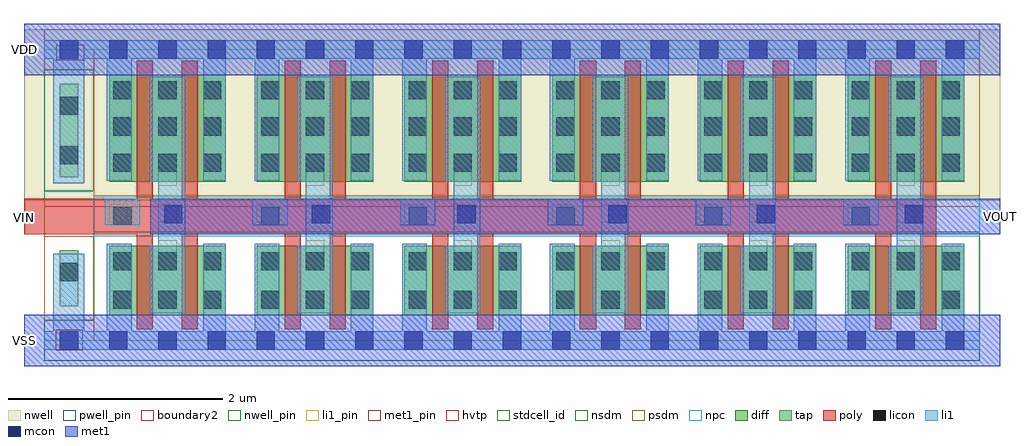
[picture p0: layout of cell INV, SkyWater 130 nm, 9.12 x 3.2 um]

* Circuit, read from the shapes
.subckt INV VDD VIN VOUT VSS
XM1 VOUT VIN VSS VSS sky130_fd_pr__nfet_01v8 w=0.65 l=0.15 m=12
XM2 VOUT VIN VDD VDD sky130_fd_pr__pfet_01v8_hvt w=1 l=0.15 m=12
.ends

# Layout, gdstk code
import gdstk
lib = gdstk.Library(unit=1e-6, precision=1e-09)
def R(c, l, rs):  # rectangles x0, y0, x1, y1
    for r in rs: c.add(gdstk.rectangle(r[:2], r[2:], *l))
def A(c, l, x, y, w, h, nx, ny, dx, dy):  # array of equal rectangles
    R(c, l, [(x+i*dx, y+j*dy, x+i*dx+w, y+j*dy+h) for i in range(nx) for j in range(ny)])
def P(c, l, *ps):  # polygons
    for p in ps: c.add(gdstk.Polygon(p, *l))
nwell_pin = (64, 16)
nwell = (64, 20)
diff = (65, 20)
tap = (65, 44)
poly = (66, 20)
licon = (66, 44)
li1_pin = (67, 16)
li1 = (67, 20)
mcon = (67, 44)
met1_pin = (68, 16)
met1 = (68, 20)
hvtp = (78, 44)
stdcell_id = (81, 4)
nsdm = (93, 44)
psdm = (94, 20)
npc = (95, 20)
pwell_pin = (122, 16)
boundary2 = (236, 0)

sky130_fd_sc_hd__tapvpwr = lib.new_cell('sky130_fd_sc_hd__tapvpwrvgnd_1')
R(sky130_fd_sc_hd__tapvpwr, nwell, [(-0.19,1.305,0.65,2.91)])
R(sky130_fd_sc_hd__tapvpwr, tap, [(0.145,0.32,0.315,0.845), (0.145,1.525,0.315,2.4)])
R(sky130_fd_sc_hd__tapvpwr, licon, [(0.145,0.555,0.315,0.725), (0.145,1.645,0.315,1.815), (0.145,2.11,0.315,2.28)])
R(sky130_fd_sc_hd__tapvpwr, li1, [(0,-0.085,0.46,0.085), (0.085,0,0.375,0.81), (0.085,1.47,0.375,2.72), (0,2.635,0.46,2.805)])
R(sky130_fd_sc_hd__tapvpwr, mcon, [(0.145,-0.085,0.315,0.085), (0.145,2.635,0.315,2.805)])
R(sky130_fd_sc_hd__tapvpwr, met1_pin, [(0.105,-0.09,0.36,0.1), (0.11,2.62,0.375,2.765)])
R(sky130_fd_sc_hd__tapvpwr, met1, [(0,-0.24,0.46,0.24), (0,2.48,0.46,2.96)])
R(sky130_fd_sc_hd__tapvpwr, hvtp, [(0,1.25,0.46,2.72)])
R(sky130_fd_sc_hd__tapvpwr, stdcell_id, [(0,0,0.46,2.72)])
R(sky130_fd_sc_hd__tapvpwr, nsdm, [(0,-0.19,0.46,0.19), (0,1.395,0.46,2.53)])
R(sky130_fd_sc_hd__tapvpwr, psdm, [(0,0.19,0.46,0.975), (0,2.53,0.46,2.91)])
sky130_fd_sc_hd__tapvpwr.add(gdstk.Label('VPWR', (0.23,2.72), layer=68, texttype=5))
sky130_fd_sc_hd__tapvpwr.add(gdstk.Label('VGND', (0.23,0), layer=68, texttype=5))
sky130_fd_sc_hd__tapvpwr.add(gdstk.Label('tapvpwrvgnd_1', (0,0), layer=83, texttype=44))

sky130_fd_sc_hd__inv_2 = lib.new_cell('sky130_fd_sc_hd__inv_2')
R(sky130_fd_sc_hd__inv_2, nwell_pin, [(0.145,2.635,0.315,2.805)])
R(sky130_fd_sc_hd__inv_2, nwell, [(-0.19,1.305,1.57,2.91)])
R(sky130_fd_sc_hd__inv_2, diff, [(0.145,0.235,1.235,0.885), (0.145,1.485,1.235,2.485)])
P(sky130_fd_sc_hd__inv_2, poly, [(0.975,2.615),(0.825,2.615),(0.825,1.325),(0.555,1.325),(0.555,2.615),(0.405,2.615),(0.405,1.325),(0.105,1.325),(0.105,0.995),(0.405,0.995),(0.405,0.105),(0.555,0.105),(0.555,0.995),(0.825,0.995),(0.825,0.105),(0.975,0.105)])
A(sky130_fd_sc_hd__inv_2, licon, 0.185, 0.295, 0.17, 0.17, 3, 2, 0.42, 0.36)
A(sky130_fd_sc_hd__inv_2, licon, 0.185, 1.575, 0.17, 0.17, 3, 3, 0.42, 0.34)
R(sky130_fd_sc_hd__inv_2, licon, [(0.185,1.075,0.355,1.245)])
A(sky130_fd_sc_hd__inv_2, li1_pin, 0.605, 0.765, 0.17, 0.17, 1, 3, 0, 0.34)
R(sky130_fd_sc_hd__inv_2, li1_pin, [(0.145,1.105,0.315,1.275)])
R(sky130_fd_sc_hd__inv_2, li1, [(0.105,1.075,0.435,1.325)])
P(sky130_fd_sc_hd__inv_2, li1, [(1.38,2.805),(0,2.805),(0,2.635),(0.125,2.635),(0.125,1.495),(0.355,1.495),(0.355,2.635),(1.025,2.635),(1.025,1.495),(1.235,1.495),(1.235,2.635),(1.38,2.635)],
  [(0.855,2.465),(0.525,2.465),(0.525,1.485),(0.605,1.485),(0.605,0.885),(0.525,0.885),(0.525,0.255),(0.855,0.255)],
  [(1.38,0.085),(1.235,0.085),(1.235,0.905),(1.025,0.905),(1.025,0.085),(0.355,0.085),(0.355,0.905),(0.125,0.905),(0.125,0.085),(0,0.085),(0,-0.085),(1.38,-0.085)])
A(sky130_fd_sc_hd__inv_2, mcon, 0.145, -0.085, 0.17, 0.17, 3, 2, 0.46, 2.72)
R(sky130_fd_sc_hd__inv_2, met1_pin, [(0.145,-0.085,0.315,0.085), (0.145,2.635,0.315,2.805)])
R(sky130_fd_sc_hd__inv_2, hvtp, [(0,1.25,1.38,2.72)])
R(sky130_fd_sc_hd__inv_2, stdcell_id, [(0,0,1.38,2.72)])
R(sky130_fd_sc_hd__inv_2, nsdm, [(0,-0.19,1.38,1.015)])
R(sky130_fd_sc_hd__inv_2, psdm, [(0,1.355,1.38,2.91)])
R(sky130_fd_sc_hd__inv_2, npc, [(0,0.975,1.38,1.345)])
R(sky130_fd_sc_hd__inv_2, pwell_pin, [(0.145,-0.085,0.315,0.085)])
R(sky130_fd_sc_hd__inv_2, boundary2, [(0,0,1.38,2.72)])
sky130_fd_sc_hd__inv_2.add(gdstk.FlexPath([(0,2.72),(1.38,2.72)], 0.48, ends="flush", simple_path=True, layer=68, datatype=20))  # met1
sky130_fd_sc_hd__inv_2.add(gdstk.FlexPath([(0,0),(1.38,0)], 0.48, ends="flush", simple_path=True, layer=68, datatype=20))  # met1
sky130_fd_sc_hd__inv_2.add(gdstk.Label('A', (0.23,1.19), layer=67, texttype=5))
sky130_fd_sc_hd__inv_2.add(gdstk.Label('Y', (0.69,0.85), layer=67, texttype=5))
sky130_fd_sc_hd__inv_2.add(gdstk.Label('Y', (0.69,1.53), layer=67, texttype=5))
sky130_fd_sc_hd__inv_2.add(gdstk.Label('Y', (0.69,1.19), layer=67, texttype=5))
sky130_fd_sc_hd__inv_2.add(gdstk.Label('VPB', (0.23,2.72), layer=64, texttype=5))
sky130_fd_sc_hd__inv_2.add(gdstk.Label('VNB', (0.23,0), layer=64, texttype=59))
sky130_fd_sc_hd__inv_2.add(gdstk.Label('VPWR', (0.23,2.72), layer=68, texttype=5))
sky130_fd_sc_hd__inv_2.add(gdstk.Label('VGND', (0.23,0), layer=68, texttype=5))
sky130_fd_sc_hd__inv_2.add(gdstk.Label('inv_2', (0,0), layer=83, texttype=44))

inv = lib.new_cell('INV')
R(inv, poly, [(-0.38,0.995,8.145,1.325)])
A(inv, li1, 5.08, 1.095, 0.17, 0.17, 3, 1, 1.385, 0)
R(inv, li1, [(0.93,1.095,1.1,1.265), (2.31,1.095,2.48,1.265), (3.65,1.095,3.865,1.265)])
A(inv, mcon, 5.08, 1.095, 0.17, 0.17, 3, 1, 1.385, 0)
R(inv, mcon, [(0.93,1.095,1.1,1.265), (2.31,1.095,2.48,1.265), (3.67,1.095,3.84,1.265)])
R(inv, met1, [(-0.38,-0.24,-0.19,0.24), (8.55,-0.24,8.74,0.24), (0.8,0.995,8.74,1.325), (-0.38,2.48,-0.18,2.96), (8.54,2.48,8.74,2.96)])
A(inv, nsdm, 1.63, 0.11, 0.04, 0.9, 5, 1, 1.38, 0)
A(inv, psdm, 1.63, 1.36, 0.04, 1.25, 5, 1, 1.38, 0)
inv.add(gdstk.Reference(sky130_fd_sc_hd__tapvpwr, (-0.19,0)))
inv.add(gdstk.Reference(sky130_fd_sc_hd__inv_2, (7.17,0)))
inv.add(gdstk.Reference(sky130_fd_sc_hd__inv_2, (5.79,0)))
inv.add(gdstk.Reference(sky130_fd_sc_hd__inv_2, (4.41,0)))
inv.add(gdstk.Reference(sky130_fd_sc_hd__inv_2, (3.03,0)))
inv.add(gdstk.Reference(sky130_fd_sc_hd__inv_2, (1.65,0)))
inv.add(gdstk.Reference(sky130_fd_sc_hd__inv_2, (0.27,0)))
inv.add(gdstk.Label('VIN', (-0.38,1.15), layer=66, texttype=5))
inv.add(gdstk.Label('VOUT', (8.74,1.16), layer=68, texttype=5))
inv.add(gdstk.Label('VSS', (-0.38,0), layer=68, texttype=5))
inv.add(gdstk.Label('VDD', (-0.38,2.72), layer=68, texttype=5))

lib.write_gds('INV.gds')
